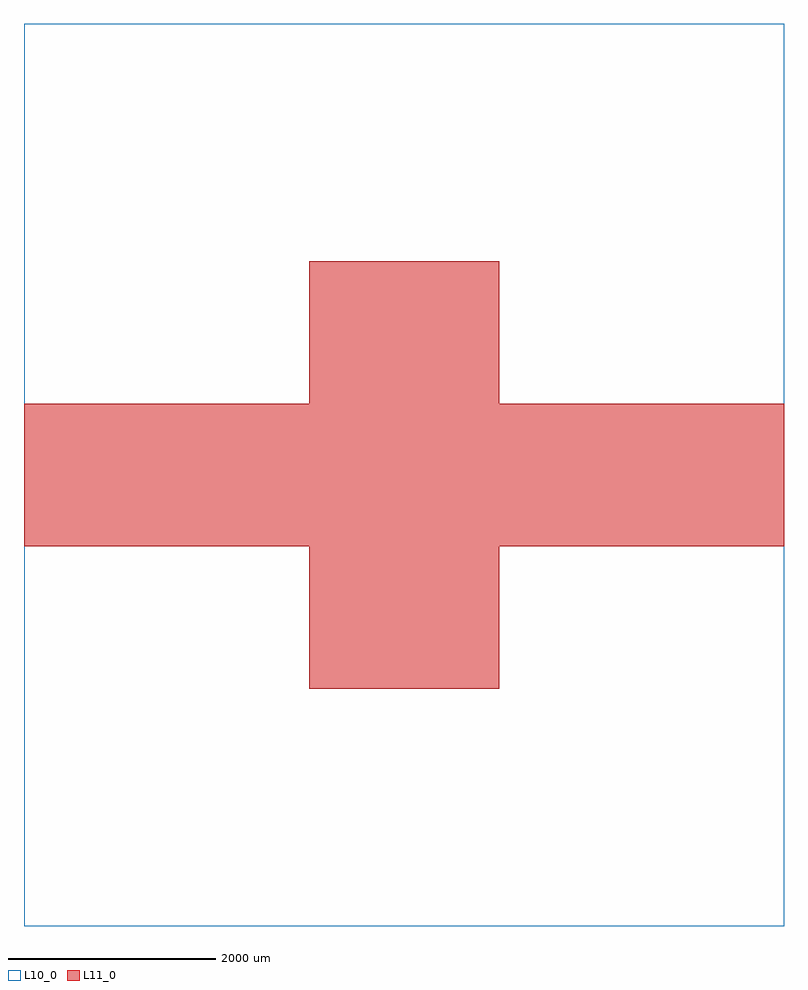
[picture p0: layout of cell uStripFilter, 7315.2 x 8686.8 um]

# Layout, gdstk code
import gdstk
lib = gdstk.Library(unit=1e-6, precision=1e-09)
def R(c, l, rs):  # rectangles x0, y0, x1, y1
    for r in rs: c.add(gdstk.rectangle(r[:2], r[2:], *l))
def A(c, l, x, y, w, h, nx, ny, dx, dy):  # array of equal rectangles
    R(c, l, [(x+i*dx, y+j*dy, x+i*dx+w, y+j*dy+h) for i in range(nx) for j in range(ny)])
L10_0 = (10, 0)
L11_0 = (11, 0)

ustripfilter = lib.new_cell('uStripFilter')
R(ustripfilter, L10_0, [(0,0,7315.2,8686.8)])
A(ustripfilter, L11_0, 2743.2, 2286, 457.2, 457.2, 4, 3, 457.2, 457.2)
A(ustripfilter, L11_0, 0, 3657.6, 457.2, 457.2, 16, 3, 457.2, 457.2)
A(ustripfilter, L11_0, 2743.2, 5029.2, 457.2, 457.2, 4, 3, 457.2, 457.2)

lib.write_gds('uStripFilter.gds')
